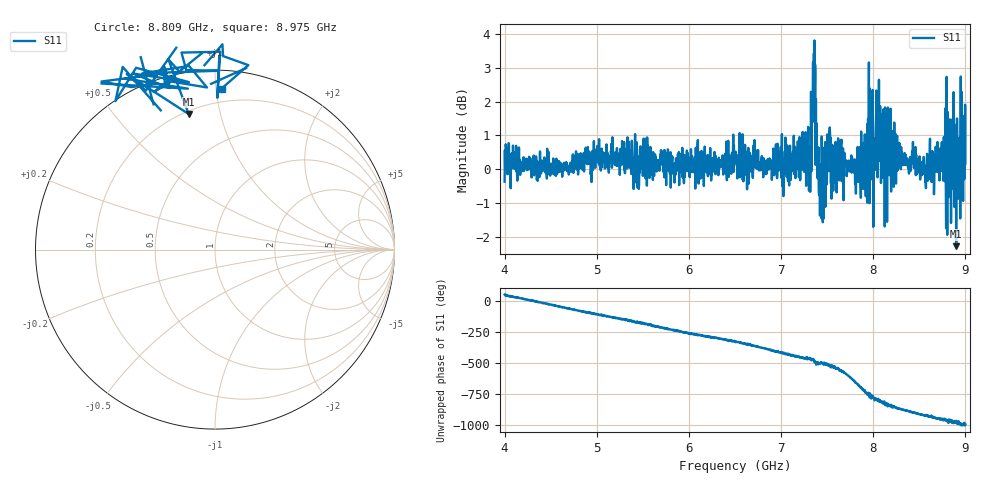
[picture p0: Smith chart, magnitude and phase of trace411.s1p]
! Created with skrf 1.8.0 (http://scikit-rf.org).
# Hz S RI R 50.0
!freq ReS11 ImS11
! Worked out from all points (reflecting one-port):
!   1601 points, 4 GHz to 9 GHz, reference 50 ohm
!   lowest |S11| = -2.3 dB at 8.9 GHz (marker M1), VSWR 7.68, Z = 10.8 + j40.1 ohm
!   phase of S11 starts at 54 deg and turns -1047 deg over the sweep
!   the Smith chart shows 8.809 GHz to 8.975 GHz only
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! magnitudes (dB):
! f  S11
! 4 GHz  -0.4
! 4.028 GHz  0.4
! 4.625 GHz  -0.2
! 5.25 GHz  -0.2
! 5.875 GHz  0.2
! 6.5 GHz  0.4
! 7.125 GHz  0.4
! 7.297 GHz  0.4
! 7.328 GHz  -0.1
! 7.347 GHz  3.2
! 7.359 GHz  2.3
! 7.381 GHz  0.7
! 7.4 GHz  0.5
! 7.428 GHz  0.1
! 7.512 GHz  0.5
! 7.562 GHz  -0.2
! 7.75 GHz  0.0
! 7.909 GHz  1.0
! 7.962 GHz  2.4
! 8.022 GHz  0.1
! 8.056 GHz  1.3
! 8.109 GHz  1.8
! 8.375 GHz  0.2
! 8.581 GHz  -0.2
! 8.834 GHz  1.1
! 8.9 GHz  -2.3
! 8.972 GHz  0.4
! 9 GHz  0.2
